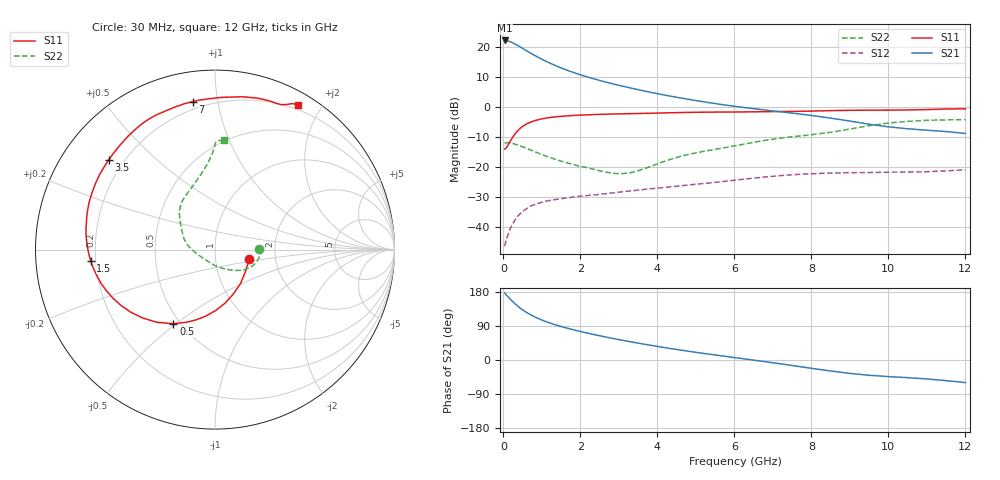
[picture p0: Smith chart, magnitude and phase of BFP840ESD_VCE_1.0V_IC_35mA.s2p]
! Infineon Technologies  Discrete & RF Semiconductors
! BFP840ESD
! VCE =  1.0 V,  IC =  35 mA
! Common Emitter S-Parameters:  May 2012
# GHz  S  MA  R  50
!  f  S11  S21  S12  S22
! GHz  MAG  ANG  MAG  ANG  MAG  ANG  MAG  ANG
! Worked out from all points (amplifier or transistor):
!   93 points, 30 MHz to 12 GHz, reference 50 ohm
!   highest |S21| = 22.2 dB at 30 MHz (marker M1)
!   |S21| within 3 dB of that: start of sweep to 541.8 MHz
!   unconditionally stable (mu >= 1): start of sweep to end of sweep
!   at 1.1 GHz: K = 1.83, MAG = 18.1 dB, |S12| = -31.5 dB
!   at 4.2 GHz: K = 2.63, MAG = 8.4 dB, |S12| = -26.9 dB
!   at 12 GHz: K = 1.77, MAG = 1.0 dB, |S12| = -21.0 dB
!   S11 on the Smith chart (normalised r, x): 30 MHz: 1.46, -0.15; 500 MHz: 0.46, -0.49; 1.5 GHz: 0.18, -0.04; 3.5 GHz: 0.14, +0.36; 7 GHz: 0.16, +0.85; 12 GHz: 0.15, +1.71
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0.03  0.1977 -14.7  12.89 177.0  0.0047 24.3  0.246 1.2
0.13  0.237 -53.1  12.58 165.7  0.0076 34.8  0.2516 -7.2
0.23  0.3042 -79.6  11.85 155.2  0.0107 44.0  0.2451 -13.9
0.28  0.3396 -89.4  11.43 150.3  0.0122 45.2  0.2407 -16.9
0.38  0.4055 -105.1  10.53 141.5  0.0151 47.1  0.2293 -22.6
0.5  0.4734 -119.3  9.479 132.1  0.0179 45.4  0.215 -28.4
0.6  0.5189 -128.7  8.651 125.5  0.0199 43.6  0.2028 -32.9
0.7  0.555 -136.7  7.948 119.7  0.0219 40.7  0.1908 -36.8
0.9  0.61 -149.5  6.743 109.7  0.0244 38.2  0.1691 -43.5
1  0.6309 -154.8  6.24 105.4  0.0255 36.5  0.1599 -46.7
1.2  0.6633 -163.9  5.407 97.9  0.0273 34.2  0.1438 -52.4
1.5  0.6956 -174.9  4.476 88.3  0.0292 32.2  0.1238 -60.7
2.1  0.7322 168.1  3.279 72.8  0.0326 30.5  0.0987 -79.3
2.8  0.7579 152.8  2.465 57.8  0.0363 29.7  0.0786 -109.4
3.5  0.775 139.8  1.94 44.5  0.0407 28.9  0.086 -151.0
4.1  0.7904 129.9  1.615 34.1  0.0445 27.8  0.1182 -175.8
5  0.8124 118.7  1.274 20.3  0.0511 25.4  0.1701 165.0
6.1  0.8216 107.9  1.004 5.1  0.0605 21.6  0.2293 145.7
7  0.8336 98.6  0.856 -7.3  0.0691 15.2  0.2878 133.3
8.5  0.8659 79.5  0.649 -29.0  0.0783 1.6  0.3762 109.1
10.5  0.8884 65.3  0.431 -46.6  0.0814 -11.8  0.5737 90.3
12  0.9285 60.3  0.36 -59.6  0.0888 -18.6  0.614 85.5
